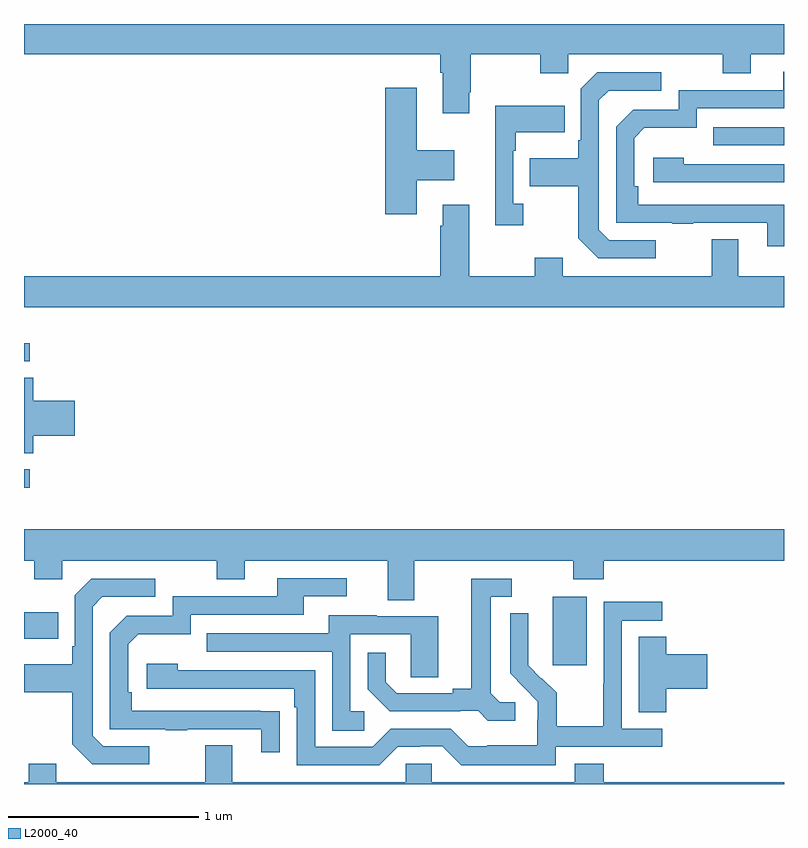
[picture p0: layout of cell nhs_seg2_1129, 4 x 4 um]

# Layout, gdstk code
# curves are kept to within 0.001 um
import gdstk
lib = gdstk.Library(unit=1e-6, precision=1e-09)
def R(c, l, rs):  # rectangles x0, y0, x1, y1
    for r in rs: c.add(gdstk.rectangle(r[:2], r[2:], *l))
def P(c, l, *ps):  # polygons
    for p in ps: c.add(gdstk.Polygon(p, *l))
L2000_40 = (2000, 40)

nhs_seg2_1129 = lib.new_cell('nhs_seg2_1129')
R(nhs_seg2_1129, L2000_40, [(171.782,640.425,171.961,640.786), (169,640.565,169.181,640.705), (169,641.359,169.03,641.457), (169,642.024,169.03,642.12), (172.627,643.161,173,643.257)])
P(nhs_seg2_1129, L2000_40, [(171.343,643.441),(171.351,643.441),(171.351,643.64),(171.718,643.64),(171.718,643.541),(171.864,643.541),(171.864,643.64),(172.678,643.64),(172.678,643.541),(172.825,643.541),(172.825,643.64),(173,643.64),(173,643.8),(169,643.8),(169,643.64),(171.191,643.64),(171.191,643.544),(171.203,643.544),(171.203,643.329),(171.343,643.329)],
  [(173,642.848),(172.232,642.849),(172.232,642.946),(172.212,642.946),(172.212,643.2),(172.265,643.253),(172.542,643.253),(172.542,643.356),(173,643.356),(173,643.548),(172.997,643.548),(172.997,643.452),(172.446,643.452),(172.446,643.35),(172.206,643.35),(172.116,643.26),(172.116,642.753),(172.411,642.753),(172.411,642.748),(172.523,642.748),(172.523,642.753),(172.913,642.753),(172.913,642.63),(173,642.63)],
  [(172.324,642.663),(172.08,642.663),(172.026,642.717),(172.026,643.398),(172.077,643.449),(172.354,643.449),(172.354,643.545),(172.017,643.545),(171.93,643.458),(171.93,643.189),(171.918,643.189),(171.918,643.093),(171.661,643.093),(171.661,642.946),(171.918,642.946),(171.918,642.673),(172.023,642.567),(172.324,642.567)],
  [(171.067,642.977),(171.265,642.977),(171.265,643.135),(171.067,643.135),(171.067,643.465),(170.9,643.465),(170.9,642.798),(171.067,642.798)],
  [(171.628,642.854),(171.576,642.854),(171.576,643.133),(171.589,643.133),(171.589,643.229),(171.845,643.229),(171.845,643.369),(171.479,643.369),(171.479,642.741),(171.628,642.741)],
  [(173,643.062),(172.472,643.062),(172.472,643.096),(172.311,643.096),(172.311,642.966),(173,642.966)],
  [(173,642.472),(172.759,642.472),(172.759,642.667),(172.619,642.667),(172.619,642.472),(171.835,642.472),(171.835,642.571),(171.688,642.571),(171.688,642.472),(171.343,642.472),(171.343,642.85),(171.203,642.85),(171.203,642.737),(171.191,642.737),(171.191,642.472),(169,642.472),(169,642.308),(173,642.308)],
  [(169.049,641.633),(169.267,641.633),(169.267,641.816),(169.049,641.816),(169.049,641.939),(169,641.939),(169,641.542),(169.049,641.542)],
  [(171.055,640.976),(171.892,640.976),(171.892,640.877),(172.052,640.877),(172.052,640.976),(173,640.976),(173,641.14),(169,641.14),(169,640.976),(169.054,640.976),(169.054,640.877),(169.2,640.877),(169.2,640.976),(170.014,640.976),(170.014,640.877),(170.161,640.877),(170.161,640.976),(170.915,640.976),(170.915,640.768),(171.055,640.768)],
  [(170.345,640.184),(169.568,640.185),(169.568,640.282),(169.548,640.282),(169.548,640.536),(169.601,640.589),(169.878,640.589),(169.878,640.692),(170.473,640.692),(170.473,640.788),(170.698,640.788),(170.698,640.884),(170.333,640.884),(170.333,640.788),(169.782,640.788),(169.782,640.686),(169.542,640.686),(169.452,640.596),(169.452,640.089),(169.747,640.089),(169.747,640.084),(169.859,640.084),(169.859,640.089),(170.249,640.089),(170.249,639.966),(170.345,639.966)],
  [(171.586,640.23),(171.504,640.23),(171.457,640.277),(171.457,640.785),(171.568,640.785),(171.568,640.881),(171.353,640.881),(171.353,640.301),(171.257,640.301),(171.257,640.278),(170.962,640.278),(170.905,640.335),(170.905,640.492),(170.808,640.492),(170.808,640.298),(170.924,640.182),(171.296,640.182),(171.296,640.185),(171.39,640.185),(171.442,640.133),(171.586,640.133)],
  [(169.66,639.999),(169.416,639.999),(169.362,640.053),(169.362,640.734),(169.413,640.785),(169.69,640.785),(169.69,640.881),(169.353,640.881),(169.266,640.794),(169.266,640.525),(169.254,640.525),(169.254,640.429),(169,640.429),(169,640.282),(169.254,640.282),(169.254,640.009),(169.359,639.903),(169.66,639.903)],
  [(171.798,639.996),(172.36,639.996),(172.36,640.092),(172.146,640.092),(172.146,640.659),(172.36,640.659),(172.36,640.758),(172.05,640.758),(172.05,640.328),(172.048,640.328),(172.048,640.105),(171.803,640.105),(171.803,640.279),(171.726,640.356),(171.723,640.353),(171.653,640.424),(171.654,640.7),(171.558,640.7),(171.558,640.382),(171.704,640.234),(171.704,640.137),(171.702,640.137),(171.702,640.003),(171.439,640.003),(171.439,639.999),(171.339,639.999),(171.246,640.092),(170.931,640.092),(170.835,639.996),(170.532,639.996),(170.532,640.398),(169.808,640.398),(169.808,640.432),(169.647,640.432),(169.647,640.302),(170.423,640.302),(170.423,640.205),(170.436,640.205),(170.436,639.9),(170.871,639.9),(170.967,639.996),(171.086,639.996),(171.086,639.999),(171.201,639.999),(171.301,639.899),(171.798,639.899)],
  [(170.791,640.182),(170.718,640.182),(170.718,640.587),(171.036,640.587),(171.036,640.363),(171.181,640.363),(171.181,640.683),(170.857,640.683),(170.857,640.687),(170.603,640.687),(170.603,640.593),(169.963,640.593),(169.963,640.497),(170.622,640.497),(170.622,640.081),(170.791,640.081)],
  [(172.379,640.301),(172.597,640.301),(172.597,640.484),(172.379,640.484),(172.379,640.574),(172.235,640.574),(172.235,640.177),(172.379,640.177)],
  [(173,639.808),(172.052,639.808),(172.052,639.907),(171.899,639.907),(171.899,639.808),(171.147,639.808),(171.147,639.906),(171.009,639.906),(171.009,639.808),(170.095,639.808),(170.095,640.003),(169.955,640.003),(169.955,639.808),(169.171,639.808),(169.171,639.907),(169.024,639.907),(169.024,639.808),(169,639.808),(169,639.8),(173,639.8)])

lib.write_gds('nhs_seg2_1129.gds')
